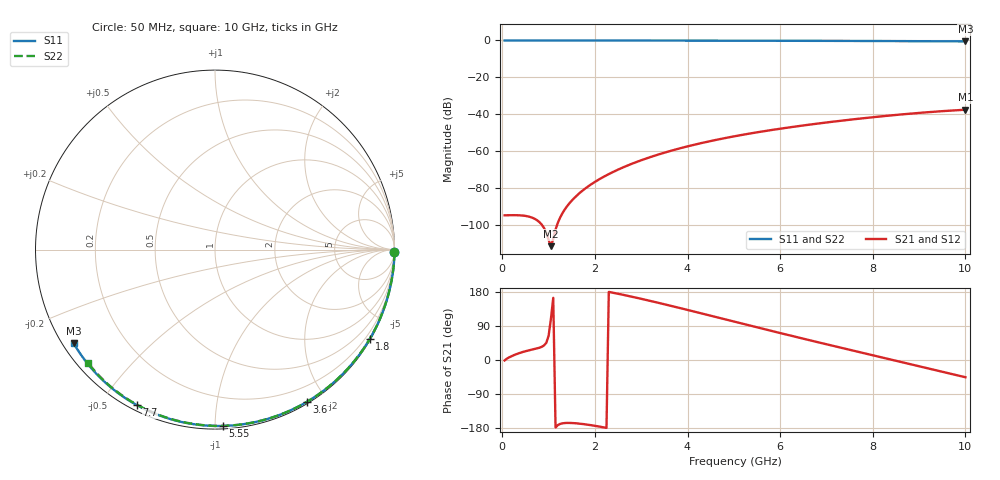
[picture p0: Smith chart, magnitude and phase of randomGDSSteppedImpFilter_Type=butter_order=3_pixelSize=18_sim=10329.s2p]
! freq	dB(S11)	phase(S11)	dB(S12)	phase(S12)
!  dB(S21)	phase(S21)	dB(S22)	phase(S22)
!S-par simulation data
#  GHz  S  DB  R 50
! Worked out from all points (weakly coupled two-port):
!   200 points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, 50 MHz to 10 GHz, reference 50 ohm
!   highest |S21| = -37.57 dB at 10 GHz (marker M1); lowest = -111.5 dB at 1.05 GHz (marker M2)
!   lowest |S11| = -0.5 dB at 10 GHz (marker M3), VSWR 35.17, Z = 1.55 - j15.1 ohm
!   |S11| at or under -10 dB: nowhere
!   |S22| runs from -0.5 to 0.0 dB; largest |S21 - S12| = 0
!   S11 on the Smith chart (normalised r, x): 50 MHz: open; 1.8 GHz: 0.03, -3.71; 3.6 GHz: 0.02, -1.78; 5.55 GHz: 0.02, -1.04; 7.7 GHz: 0.02, -0.62; 10 GHz: 0.03, -0.30
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0.05  -0.00 -0.9  -94.80 -1.1  -94.80 -1.1  -0.00 -0.8
0.55  -0.01 -9.3  -95.38 24.7  -95.38 24.7  -0.01 -8.8
1.05  -0.02 -17.7  -111.55 108.7  -111.55 108.7  -0.02 -16.7
1.75  -0.04 -29.3  -81.08 -169.1  -81.08 -169.1  -0.04 -27.6
1.8  -0.04 -30.1  -80.11 -170.0  -80.11 -170.0  -0.04 -28.4
2  -0.04 -33.4  -76.70 -173.7  -76.70 -173.7  -0.04 -31.5
2.15  -0.05 -35.9  -74.47 -176.9  -74.47 -176.9  -0.04 -33.8
2.5  -0.05 -41.5  -70.03 174.8  -70.03 174.8  -0.05 -39.1
2.9  -0.06 -47.9  -65.88 164.2  -65.88 164.2  -0.06 -45.1
3.4  -0.07 -55.7  -61.60 150.1  -61.60 150.1  -0.07 -52.5
3.6  -0.08 -58.8  -60.12 144.2  -60.12 144.2  -0.07 -55.4
3.9  -0.09 -63.4  -58.07 135.2  -58.07 135.2  -0.08 -59.8
4.3  -0.10 -69.4  -55.64 123.0  -55.64 123.0  -0.09 -65.5
5.05  -0.12 -80.4  -51.78 100.0  -51.78 100.0  -0.12 -75.9
5.55  -0.14 -87.5  -49.61 84.7  -49.61 84.7  -0.14 -82.7
6.1  -0.17 -95.2  -47.49 68.1  -47.49 68.1  -0.16 -90.0
6.7  -0.20 -103.4  -45.43 50.3  -45.43 50.3  -0.19 -97.8
7.2  -0.23 -110.1  -43.87 35.7  -43.87 35.7  -0.22 -104.2
7.7  -0.27 -116.7  -42.43 21.1  -42.43 21.1  -0.25 -110.4
8.35  -0.32 -125.1  -40.74 2.3  -40.74 2.3  -0.30 -118.4
9.2  -0.40 -136.1  -38.88 -22.3  -38.88 -22.3  -0.37 -128.7
10  -0.49 -146.4  -37.57 -45.5  -37.57 -45.5  -0.47 -138.4
